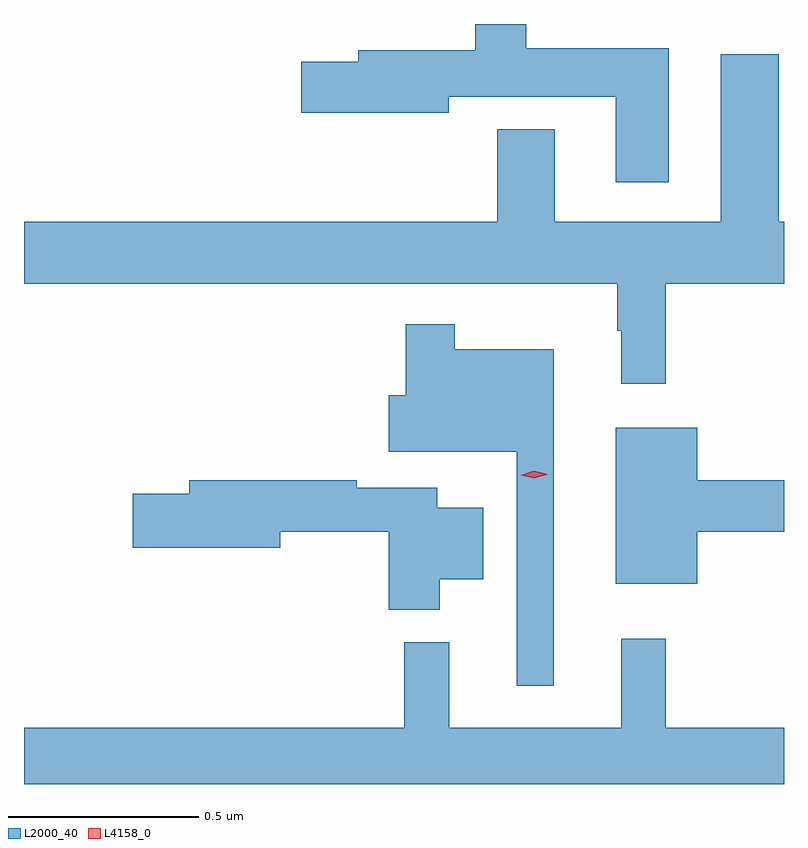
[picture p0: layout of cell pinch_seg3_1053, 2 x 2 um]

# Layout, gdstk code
import gdstk
lib = gdstk.Library(unit=1e-6, precision=1e-09)
def P(c, l, *ps):  # polygons
    for p in ps: c.add(gdstk.Polygon(p, *l))
L2000_40 = (2000, 40)
L4158_0 = (4158, 0)

pinch_seg3_1053 = lib.new_cell('pinch_seg3_1053')
P(pinch_seg3_1053, L2000_40, [(517.285,682.888),(516.91,682.888),(516.91,682.952),(516.776,682.952),(516.776,682.883),(516.467,682.883),(516.467,682.853),(516.318,682.853),(516.318,682.718),(516.706,682.718),(516.706,682.76),(517.145,682.76),(517.145,682.536),(517.285,682.536)],
  [(517.277,682.268),(517.588,682.268),(517.588,682.432),(517.574,682.432),(517.574,682.873),(517.421,682.873),(517.421,682.432),(516.985,682.432),(516.985,682.675),(516.833,682.675),(516.833,682.432),(515.588,682.432),(515.588,682.268),(517.149,682.268),(517.149,682.145),(517.16,682.145),(517.16,682.005),(517.277,682.005)],
  [(516.982,682.096),(516.721,682.096),(516.721,682.162),(516.592,682.162),(516.592,681.975),(516.548,681.975),(516.548,681.827),(516.885,681.827),(516.885,681.21),(516.982,681.21)],
  [(517.36,681.616),(517.588,681.616),(517.588,681.752),(517.36,681.752),(517.36,681.889),(517.145,681.889),(517.145,681.479),(517.36,681.479)],
  [(516.682,681.491),(516.796,681.491),(516.796,681.679),(516.676,681.679),(516.676,681.732),(516.464,681.732),(516.464,681.752),(516.023,681.752),(516.023,681.716),(515.874,681.716),(515.874,681.574),(516.262,681.574),(516.262,681.616),(516.548,681.616),(516.548,681.41),(516.682,681.41)],
  [(517.588,681.1),(517.277,681.1),(517.277,681.334),(517.16,681.334),(517.16,681.1),(516.707,681.1),(516.707,681.325),(516.589,681.325),(516.589,681.1),(515.588,681.1),(515.588,680.952),(517.588,680.952)])
P(pinch_seg3_1053, L4158_0, [(516.931,681.756),(516.895,681.764),(516.895,681.764),(516.895,681.764),(516.93,681.776),(516.966,681.767),(516.966,681.767),(516.966,681.767)])

lib.write_gds('pinch_seg3_1053.gds')
